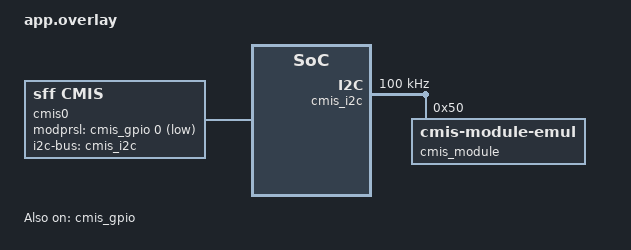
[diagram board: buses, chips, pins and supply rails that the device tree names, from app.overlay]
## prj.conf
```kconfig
CONFIG_ZTEST=y
CONFIG_I2C=y
CONFIG_I2C_EMUL=y
CONFIG_EMUL=y

CONFIG_SFP=y
CONFIG_SFP_CMIS=y
CONFIG_EMUL_CMIS=y

CONFIG_SFP_CMIS_SHELL=y
CONFIG_SHELL=y
CONFIG_SHELL_BACKEND_SERIAL=n
CONFIG_SHELL_BACKEND_DUMMY=y
CONFIG_GPIO=y
CONFIG_GPIO_EMUL=y
```

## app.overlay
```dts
/*
 * Copyright The Zephyr Project Contributors
 *
 * SPDX-License-Identifier: Apache-2.0
 */

#include <zephyr/dt-bindings/gpio/gpio.h>
#include <zephyr/dt-bindings/i2c/i2c.h>

/ {
	cmis0: qsfp-cage {
		compatible = "sff,cmis";
		i2c-bus = <&cmis_i2c>;
		modprsl-gpios = <&cmis_gpio 0 GPIO_ACTIVE_LOW>;
		status = "okay";
	};

	cmis_i2c: i2c@100 {
		compatible = "zephyr,i2c-emul-controller";
		reg = <0x100 4>;
		clock-frequency = <I2C_BITRATE_STANDARD>;
		#address-cells = <1>;
		#size-cells = <0>;
		status = "okay";

		/* the module plugged into the cage */
		cmis_module: cmis-module@50 {
			compatible = "zephyr,cmis-module-emul";
			reg = <0x50>;
			status = "okay";
		};
	};

	cmis_gpio: gpio@200 {
		compatible = "zephyr,gpio-emul";
		reg = <0x200 4>;
		gpio-controller;
		#gpio-cells = <2>;
		ngpios = <8>;
		status = "okay";
	};
};
```

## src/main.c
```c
/*
 * Copyright The Zephyr Project Contributors
 *
 * SPDX-License-Identifier: Apache-2.0
 */

#include <string.h>

#include <zephyr/cmis/cmis.h>
#include <zephyr/device.h>
#include <zephyr/drivers/cmis.h>
#include <zephyr/drivers/emul.h>
#include <zephyr/drivers/gpio/gpio_emul.h>
#include <zephyr/drivers/i2c.h>
#include <zephyr/ztest.h>

#include "emul_cmis.h"

#define CAGE_NODE DT_NODELABEL(cmis0)

static const struct device *const cmis_dev = DEVICE_DT_GET(CAGE_NODE);
static const struct emul *const cmis_emul = EMUL_DT_GET(DT_NODELABEL(cmis_module));
static const struct i2c_dt_spec cmis_bus = I2C_DT_SPEC_GET(DT_NODELABEL(cmis_module));
static const struct device *const presence_port = DEVICE_DT_GET(DT_NODELABEL(cmis_gpio));
static const gpio_pin_t presence_pin = DT_GPIO_PIN(CAGE_NODE, modprsl_gpios);

/* ModPrsL is pulled low by an inserted module (active low). */
static void set_module_present(bool present)
{
	zassert_ok(gpio_emul_input_set(presence_port, presence_pin, present ? 0 : 1));
}

/* Read one Lower Memory byte the way a host interrupt handler would. */
static uint8_t raw_read(uint8_t offset)
{
	uint8_t val = 0xFFU;

	zassert_ok(i2c_write_read_dt(&cmis_bus, &offset, 1U, &val, 1U));
	return val;
}

static void *cmis_setup(void)
{
	if (IS_ENABLED(CONFIG_USERSPACE)) {
		k_object_access_all_grant(cmis_dev);
	}

	return NULL;
}

/* Runs in supervisor mode, also for user-mode tests. */
static void cmis_before(void *fixture)
{
	ARG_UNUSED(fixture);
	set_module_present(true);
	cmis_emul_reset(cmis_emul);
}

ZTEST(cmis_driver, test_device_ready)
{
	zassert_true(device_is_ready(cmis_dev));
}

ZTEST_USER(cmis_driver, test_read_id)
{
	struct cmis_id id;

	zassert_ok(cmis_read_id(cmis_dev, &id));
	zassert_equal(id.identifier, CMIS_ID_QSFP_DD);
	zassert_equal(id.cmis_major, 5U);
	zassert_equal(id.cmis_minor, 0U);
	zassert_equal(id.module_state, CMIS_MODULE_STATE_READY);
	zassert_equal(id.media_type, CMIS_MEDIA_OPTICAL_SMF);
	zassert_equal(id.power_class, 8U);
	zassert_equal(id.max_power_mw, 14000U, "got %u", id.max_power_mw);
	zassert_equal(strcmp(id.vendor_name, "ACME PHOTONICS"), 0, "got '%s'", id.vendor_name);
	zassert_equal(strcmp(id.vendor_pn, "QSFP-DD-400G"), 0, "got '%s'", id.vendor_pn);
	zassert_equal(strcmp(id.vendor_sn, "QD2400001234"), 0, "got '%s'", id.vendor_sn);
}

ZTEST_USER(cmis_driver, test_read_monitors)
{
	struct cmis_monitors mon;

	zassert_ok(cmis_read_monitors(cmis_dev, &mon));
	zassert_equal(mon.temp_mdegc, 45500, "got %d", mon.temp_mdegc);
	zassert_equal(mon.vcc_uv, 3300000U, "got %u", mon.vcc_uv);
	zassert_equal(mon.flags, CMIS_FLAG_TEMP_HIGH_ALARM | CMIS_FLAG_VCC_HIGH_ALARM,
		      "got 0x%02x", mon.flags);
}

ZTEST(cmis_driver, test_monitor_flags_reported_once)
{
	struct cmis_monitors mon;

	zassert_ok(cmis_read_monitors(cmis_dev, &mon));
	zassert_equal(mon.flags, CMIS_FLAG_TEMP_HIGH_ALARM | CMIS_FLAG_VCC_HIGH_ALARM);

	/* Latched flags are cleared by the read: the next read sees no event. */
	zassert_ok(cmis_read_monitors(cmis_dev, &mon));
	zassert_equal(mon.flags, 0U, "got 0x%02x", mon.flags);
	zassert_equal(mon.temp_mdegc, 45500, "monitor values are not latched");
}

ZTEST(cmis_driver, test_reads_keep_unreported_flags)
{
	struct cmis_monitors mon;
	struct cmis_id id;

	zassert_ok(cmis_read_id(cmis_dev, &id));
	zassert_ok(cmis_read_monitors(cmis_dev, &mon));

	/* ModuleStateChanged (byte 8) is not returned by either call, so it
	 * must still be pending for the host's interrupt handling.
	 */
	zassert_equal(raw_read(CMIS_EMUL_MODULE_STATE_FLAGS) & CMIS_EMUL_STATE_CHANGED,
		      CMIS_EMUL_STATE_CHANGED);

	/* read_id() must not have consumed the byte 9 flags either. */
	zassert_equal(mon.flags, CMIS_FLAG_TEMP_HIGH_ALARM | CMIS_FLAG_VCC_HIGH_ALARM);
}

ZTEST(cmis_driver, test_empty_cage)
{
	struct cmis_monitors mon;
	struct cmis_id id;

	set_module_present(false);
	zassert_equal(cmis_read_id(cmis_dev, &id), -ENODEV);
	zassert_equal(cmis_read_monitors(cmis_dev, &mon), -ENODEV);

	set_module_present(true);
	zassert_ok(cmis_read_id(cmis_dev, &id));
}

ZTEST_SUITE(cmis_driver, NULL, cmis_setup, cmis_before, NULL, NULL);
```
